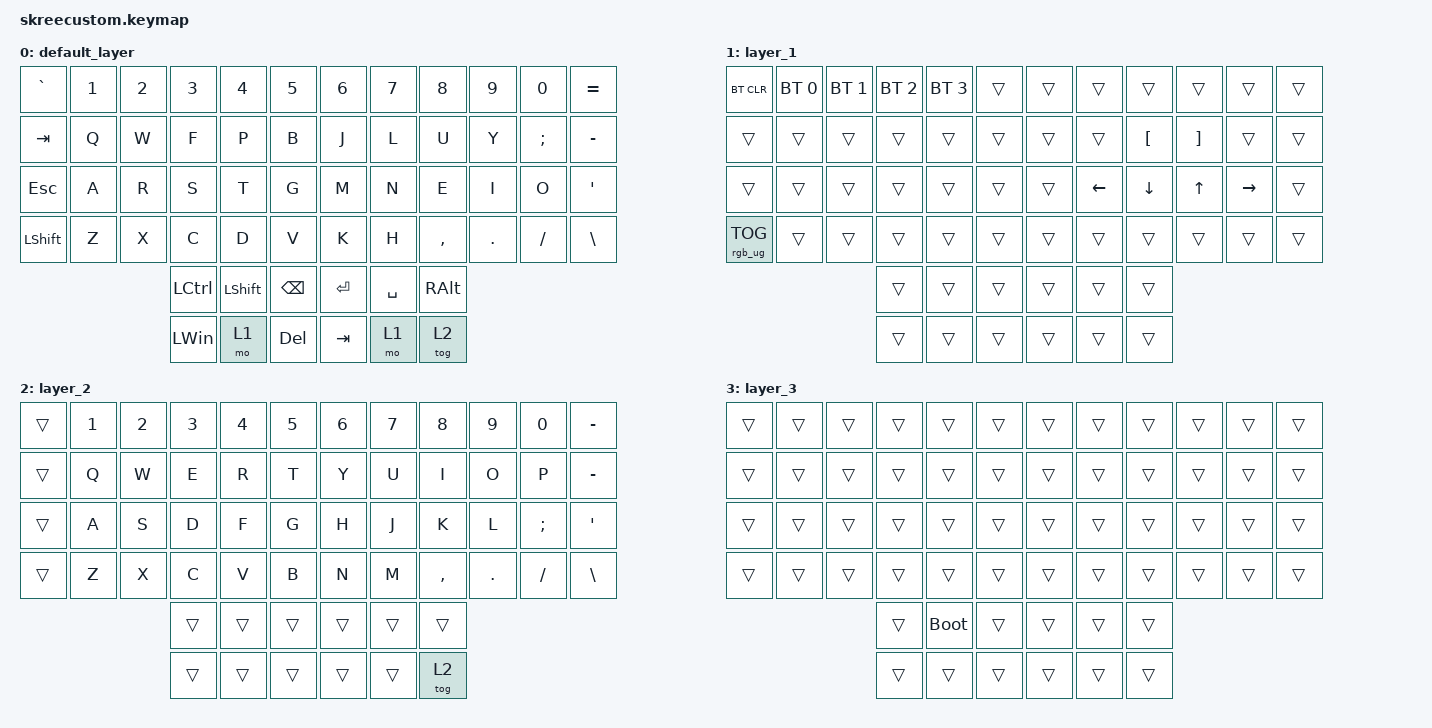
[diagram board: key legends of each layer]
/*
 * Copyright (c) 2020 The ZMK Contributors
 *
 * SPDX-License-Identifier: MIT
 */

#include <input/processors.dtsi>
#include <dt-bindings/zmk/input_transform.h>
#include <behaviors.dtsi>
#include <dt-bindings/zmk/bt.h>
#include <dt-bindings/zmk/keys.h>
#include <dt-bindings/zmk/rgb.h>

/ {
    keymap {
        compatible = "zmk,keymap";

        default_layer {
            bindings = <
&kp GRAVE       &kp N1  &kp N2  &kp N3            &kp N4          &kp N5           &kp N6   &kp N7     &kp N8         &kp N9   &kp N0    &kp EQUAL
&kp TAB         &kp Q   &kp W   &kp F             &kp P           &kp B            &kp J    &kp L      &kp U          &kp Y    &kp SEMI  &kp MINUS
&kp ESCAPE      &kp A   &kp R   &kp S             &kp T           &kp G            &kp M    &kp N      &kp E          &kp I    &kp O     &kp SQT
&kp LEFT_SHIFT  &kp Z   &kp X   &kp C             &kp D           &kp V            &kp K    &kp H      &kp COMMA      &kp DOT  &kp FSLH  &kp BSLH
                                &kp LEFT_CONTROL  &kp LEFT_SHIFT  &kp BACKSPACE    &kp RET  &kp SPACE  &kp RIGHT_ALT
                                &kp LEFT_WIN      &mo 1           &kp DELETE       &kp TAB  &mo 1      &tog 2
            >;
        };

        layer_1 {
            bindings = <
&bt BT_CLR       &bt BT_SEL 0  &bt BT_SEL 1  &bt BT_SEL 2  &bt BT_SEL 3  &trans    &trans  &trans          &trans          &trans        &trans           &trans
&trans           &trans        &trans        &trans        &trans        &trans    &trans  &trans          &kp LBKT        &kp RBKT      &trans           &trans
&trans           &trans        &trans        &trans        &trans        &trans    &trans  &kp LEFT_ARROW  &kp DOWN_ARROW  &kp UP_ARROW  &kp RIGHT_ARROW  &trans
&rgb_ug RGB_TOG  &trans        &trans        &trans        &trans        &trans    &trans  &trans          &trans          &trans        &trans           &trans
                                             &trans        &trans        &trans    &trans  &trans          &trans
                                             &trans        &trans        &trans    &trans  &trans          &trans
            >;
        };

        layer_2 {
            bindings = <
&trans  &kp N1  &kp N2  &kp N3  &kp N4  &kp N5    &kp N6  &kp N7  &kp N8     &kp N9   &kp N0    &kp MINUS
&trans  &kp Q   &kp W   &kp E   &kp R   &kp T     &kp Y   &kp U   &kp I      &kp O    &kp P     &kp MINUS
&trans  &kp A   &kp S   &kp D   &kp F   &kp G     &kp H   &kp J   &kp K      &kp L    &kp SEMI  &kp SQT
&trans  &kp Z   &kp X   &kp C   &kp V   &kp B     &kp N   &kp M   &kp COMMA  &kp DOT  &kp FSLH  &kp BSLH
                        &trans  &trans  &trans    &trans  &trans  &trans
                        &trans  &trans  &trans    &trans  &trans  &tog 2
            >;
        };

        layer_3 {
            bindings = <
&trans  &trans  &trans  &trans  &trans       &trans    &trans  &trans  &trans  &trans  &trans  &trans
&trans  &trans  &trans  &trans  &trans       &trans    &trans  &trans  &trans  &trans  &trans  &trans
&trans  &trans  &trans  &trans  &trans       &trans    &trans  &trans  &trans  &trans  &trans  &trans
&trans  &trans  &trans  &trans  &trans       &trans    &trans  &trans  &trans  &trans  &trans  &trans
                        &trans  &bootloader  &trans    &trans  &trans  &trans
                        &trans  &trans       &trans    &trans  &trans  &trans
            >;
        };
    };
};

// //right hand trackball overrides
// &trackball_peripheral_listener {
//     input-processors =
//         <&zip_xy_transform INPUT_TRANSFORM_XY_SWAP>,//this gets it to the default installation orientation
//         <&zip_temp_layer 3 500>;//activate layer 3 within 500ms of the trackball moving
// };
// //left hand trackball overrides
// &trackball_central_listener {
//     input-processors = 
//         <&zip_xy_transform INPUT_TRANSFORM_XY_SWAP>,//this gets it to the default installation orientation
//         <&zip_xy_scaler 1 3>,//multiply sensitivity by 1, divide by 3 (make it slower for scrolling)
//         <&zip_xy_to_scroll_mapper>,//make this trackball output scrolling events by default instead of cursor movement
//         <&zip_scroll_transform INPUT_TRANSFORM_Y_INVERT>;//invert vertical scrolling so that the view moves in the same direction as the top of the trackball.
// };
